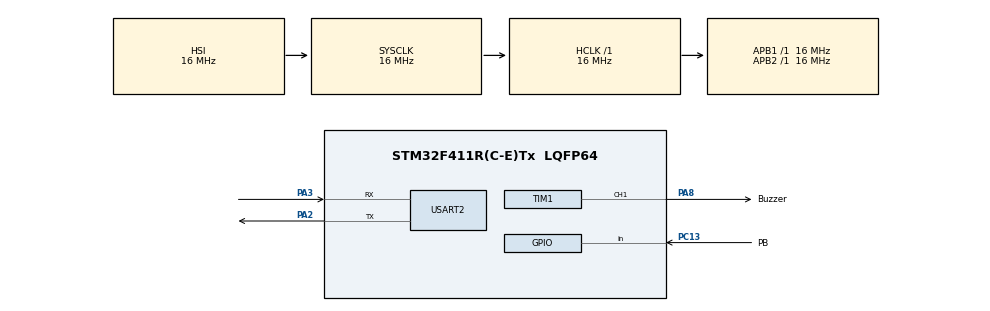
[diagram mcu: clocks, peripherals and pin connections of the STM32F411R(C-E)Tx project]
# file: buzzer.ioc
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Mcu.Family=STM32F4
Mcu.Name=STM32F411R(C-E)Tx
Mcu.Package=LQFP64
NVIC.PriorityGroup=NVIC_PRIORITYGROUP_4
NVIC.USART2_IRQn=true\:0\:0\:false\:false\:true\:true\:true\:true
PA2.Mode=Asynchronous
PA2.Signal=USART2_TX
PA3.Mode=Asynchronous
PA3.Signal=USART2_RX
PA8.GPIO_Label=Buzzer
PA8.Signal=S_TIM1_CH1
PC13-ANTI_TAMP.GPIO_Label=PB
PC13-ANTI_TAMP.Signal=GPIO_Input
ProjectManager.HeapSize=0x200
ProjectManager.StackSize=0x400
ProjectManager.TargetToolchain=STM32CubeIDE
RCC.AHBFreq_Value=16000000
RCC.APB1Freq_Value=16000000
RCC.APB2Freq_Value=16000000
RCC.CortexFreq_Value=16000000
RCC.HSE_VALUE=25000000
RCC.HSI_VALUE=16000000
RCC.LSE_VALUE=32768
RCC.SYSCLKFreq_VALUE=16000000
RCC.VCOOutputFreq_Value=192000000
SH.S_TIM1_CH1.0=TIM1_CH1,PWM Generation1 CH1
TIM1.Channel-PWM\ Generation1\ CH1=TIM_CHANNEL_1
TIM1.Period=1000-1
TIM1.Prescaler=16-1
TIM1.Pulse-PWM\ Generation1\ CH1=500-1
USART2.VirtualMode=VM_ASYNC
VP_TIM1_VS_ClockSourceINT.Mode=Internal
board=custom

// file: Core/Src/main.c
/* USER CODE BEGIN Header */
/**
  ******************************************************************************
  * @file           : main.c
  * @brief          : Main program body
  ******************************************************************************
  * @attention
  *
  * Copyright (c) 2024 STMicroelectronics.
  * All rights reserved.
  *
  * This software is licensed under terms that can be found in the LICENSE file
  * in the root directory of this software component.
  * If no LICENSE file comes with this software, it is provided AS-IS.
  *
  ******************************************************************************
  */
/* USER CODE END Header */
#include "main.h"

/* USER CODE BEGIN Includes */
#include "uart.h"
/* USER CODE END Includes */

TIM_HandleTypeDef htim1;

UART_HandleTypeDef huart2;

void SystemClock_Config(void);
static void MX_GPIO_Init(void);
static void MX_TIM1_Init(void);
static void MX_USART2_UART_Init(void);

/* USER CODE BEGIN 0 */
int soundLut[] = { // sound look up table
		262,294, 330, 349, 392, 440, 494, 523
};
void setSound(int freq){
	htim1.Instance->ARR = 1000000 / freq -1;
	htim1.Instance->CCR1 = htim1.Instance->ARR /2;
	htim1.Instance->CNT =0;
}

void stopSound(){
	htim1.Instance->CCR1 = 0;
}
/* USER CODE END 0 */

int main(void)
{

  /* MCU Configuration--------------------------------------------------------*/

  /* Reset of all peripherals, Initializes the Flash interface and the Systick. */
  HAL_Init();

  /* Configure the system clock */
  SystemClock_Config();

  /* Initialize all configured peripherals */
  MX_GPIO_Init();
  MX_TIM1_Init();
  MX_USART2_UART_Init();
  /* USER CODE BEGIN 2 */
	HAL_TIM_PWM_Start(&htim1, TIM_CHANNEL_1);//if you push the switch
	initUart(&huart2);
  /* USER CODE END 2 */

  /* Infinite loop */
  /* USER CODE BEGIN WHILE */
  while (1){
  	char ch;
  	ch = getChar();// use two pointer, one is data write, other is data read.
  	// if use 7th pointer, comeback and back to 1st address.
  	// it's called ring buffer.(pointer)
  	switch(ch){
  		case 'c' :
  			setSound(soundLut[0]);
  			break;
  		case 'd' :
  		  setSound(soundLut[1]);
  		  break;
  		case 'e' :
  		  setSound(soundLut[2]);
  		  break;
  		case 'f' :
  		  setSound(soundLut[3]);
  		  break;
  		case 'g' :
  		  setSound(soundLut[4]);
  		  break;
  		case 'a' :
  		  setSound(soundLut[5]);
  		  break;
  		case 'b' :
  		  setSound(soundLut[6]);
  		  break;
  		case 'C' :
  		  setSound(2*soundLut[0]); // 2*sound[0]==soundLut[7]
  		  break;
  		default:
  			stopSound();
  			break;
  	}
  	HAL_Delay(100);
//  	if(HAL_GPIO_ReadPin(PB_GPIO_Port, PB_Pin) ==0){
//  		//HAL_TIM_PWM_Stop(&htim1, TIM_CHANNEL_1);
//  		htim1.Instance->CCR1 = 0;
//  	}
//  	else{
//  		htim1.Instance->CCR1 = htim1.Instance->ARR/2;
//  	}

    /* USER CODE END WHILE */

  }
}

void SystemClock_Config(void)
{
  RCC_OscInitTypeDef RCC_OscInitStruct = {0};
  RCC_ClkInitTypeDef RCC_ClkInitStruct = {0};

  /** Configure the main internal regulator output voltage
  */
  __HAL_RCC_PWR_CLK_ENABLE();
  __HAL_PWR_VOLTAGESCALING_CONFIG(PWR_REGULATOR_VOLTAGE_SCALE1);

  /** Initializes the RCC Oscillators according to the specified parameters
  * in the RCC_OscInitTypeDef structure.
  */
  RCC_OscInitStruct.OscillatorType = RCC_OSCILLATORTYPE_HSI;
  RCC_OscInitStruct.HSIState = RCC_HSI_ON;
  RCC_OscInitStruct.HSICalibrationValue = RCC_HSICALIBRATION_DEFAULT;
  RCC_OscInitStruct.PLL.PLLState = RCC_PLL_NONE;
  if (HAL_RCC_OscConfig(&RCC_OscInitStruct) != HAL_OK)
  {
    Error_Handler();
  }

  /** Initializes the CPU, AHB and APB buses clocks
  */
  RCC_ClkInitStruct.ClockType = RCC_CLOCKTYPE_HCLK|RCC_CLOCKTYPE_SYSCLK
                              |RCC_CLOCKTYPE_PCLK1|RCC_CLOCKTYPE_PCLK2;
  RCC_ClkInitStruct.SYSCLKSource = RCC_SYSCLKSOURCE_HSI;
  RCC_ClkInitStruct.AHBCLKDivider = RCC_SYSCLK_DIV1;
  RCC_ClkInitStruct.APB1CLKDivider = RCC_HCLK_DIV1;
  RCC_ClkInitStruct.APB2CLKDivider = RCC_HCLK_DIV1;

  if (HAL_RCC_ClockConfig(&RCC_ClkInitStruct, FLASH_LATENCY_0) != HAL_OK)
  {
    Error_Handler();
  }
}

static void MX_TIM1_Init(void)
{

  TIM_ClockConfigTypeDef sClockSourceConfig = {0};
  TIM_MasterConfigTypeDef sMasterConfig = {0};
  TIM_OC_InitTypeDef sConfigOC = {0};
  TIM_BreakDeadTimeConfigTypeDef sBreakDeadTimeConfig = {0};

  htim1.Instance = TIM1;
  htim1.Init.Prescaler = 16-1;
  htim1.Init.CounterMode = TIM_COUNTERMODE_UP;
  htim1.Init.Period = 1000-1;
  htim1.Init.ClockDivision = TIM_CLOCKDIVISION_DIV1;
  htim1.Init.RepetitionCounter = 0;
  htim1.Init.AutoReloadPreload = TIM_AUTORELOAD_PRELOAD_DISABLE;
  if (HAL_TIM_Base_Init(&htim1) != HAL_OK)
  {
    Error_Handler();
  }
  sClockSourceConfig.ClockSource = TIM_CLOCKSOURCE_INTERNAL;
  if (HAL_TIM_ConfigClockSource(&htim1, &sClockSourceConfig) != HAL_OK)
  {
    Error_Handler();
  }
  if (HAL_TIM_PWM_Init(&htim1) != HAL_OK)
  {
    Error_Handler();
  }
  sMasterConfig.MasterOutputTrigger = TIM_TRGO_RESET;
  sMasterConfig.MasterSlaveMode = TIM_MASTERSLAVEMODE_DISABLE;
  if (HAL_TIMEx_MasterConfigSynchronization(&htim1, &sMasterConfig) != HAL_OK)
  {
    Error_Handler();
  }
  sConfigOC.OCMode = TIM_OCMODE_PWM1;
  sConfigOC.Pulse = 500-1;
  sConfigOC.OCPolarity = TIM_OCPOLARITY_HIGH;
  sConfigOC.OCNPolarity = TIM_OCNPOLARITY_HIGH;
  sConfigOC.OCFastMode = TIM_OCFAST_DISABLE;
  sConfigOC.OCIdleState = TIM_OCIDLESTATE_RESET;
  sConfigOC.OCNIdleState = TIM_OCNIDLESTATE_RESET;
  if (HAL_TIM_PWM_ConfigChannel(&htim1, &sConfigOC, TIM_CHANNEL_1) != HAL_OK)
  {
    Error_Handler();
  }
  sBreakDeadTimeConfig.OffStateRunMode = TIM_OSSR_DISABLE;
  sBreakDeadTimeConfig.OffStateIDLEMode = TIM_OSSI_DISABLE;
  sBreakDeadTimeConfig.LockLevel = TIM_LOCKLEVEL_OFF;
  sBreakDeadTimeConfig.DeadTime = 0;
  sBreakDeadTimeConfig.BreakState = TIM_BREAK_DISABLE;
  sBreakDeadTimeConfig.BreakPolarity = TIM_BREAKPOLARITY_HIGH;
  sBreakDeadTimeConfig.AutomaticOutput = TIM_AUTOMATICOUTPUT_DISABLE;
  if (HAL_TIMEx_ConfigBreakDeadTime(&htim1, &sBreakDeadTimeConfig) != HAL_OK)
  {
    Error_Handler();
  }
  HAL_TIM_MspPostInit(&htim1);

}

static void MX_USART2_UART_Init(void)
{

  huart2.Instance = USART2;
  huart2.Init.BaudRate = 115200;
  huart2.Init.WordLength = UART_WORDLENGTH_8B;
  huart2.Init.StopBits = UART_STOPBITS_1;
  huart2.Init.Parity = UART_PARITY_NONE;
  huart2.Init.Mode = UART_MODE_TX_RX;
  huart2.Init.HwFlowCtl = UART_HWCONTROL_NONE;
  huart2.Init.OverSampling = UART_OVERSAMPLING_16;
  if (HAL_UART_Init(&huart2) != HAL_OK)
  {
    Error_Handler();
  }

}

static void MX_GPIO_Init(void)
{
  GPIO_InitTypeDef GPIO_InitStruct = {0};

  /* GPIO Ports Clock Enable */
  __HAL_RCC_GPIOC_CLK_ENABLE();
  __HAL_RCC_GPIOA_CLK_ENABLE();

  /*Configure GPIO pin : PB_Pin */
  GPIO_InitStruct.Pin = PB_Pin;
  GPIO_InitStruct.Mode = GPIO_MODE_INPUT;
  GPIO_InitStruct.Pull = GPIO_NOPULL;
  HAL_GPIO_Init(PB_GPIO_Port, &GPIO_InitStruct);

}

void Error_Handler(void)
{
  __disable_irq();
  while (1)
  {
  }
}
